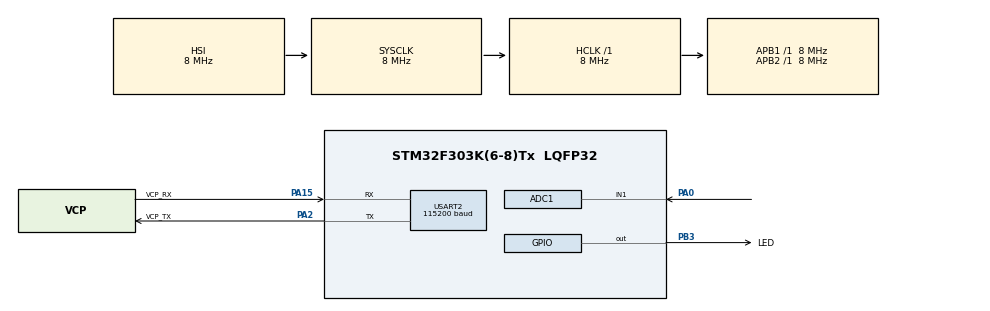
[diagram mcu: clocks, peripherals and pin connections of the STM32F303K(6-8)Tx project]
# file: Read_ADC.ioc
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ADC1.Channel-0\#ChannelRegularConversion=ADC_CHANNEL_1
ADC1.NbrOfConversionFlag=1
ADC1.Offset-0\#ChannelRegularConversion=0
ADC1.OffsetNumber-0\#ChannelRegularConversion=ADC_OFFSET_NONE
ADC1.Rank-0\#ChannelRegularConversion=1
ADC1.SamplingTime-0\#ChannelRegularConversion=ADC_SAMPLETIME_1CYCLE_5
ADC1.SamplingTimeOPAMP-0\#ChannelRegularConversion=ADC_SAMPLETIME_4CYCLES_5
ADC1.SubFamily=STM32F303x8
ADC1.master=1
Mcu.Family=STM32F3
Mcu.Name=STM32F303K(6-8)Tx
Mcu.Package=LQFP32
NVIC.PriorityGroup=NVIC_PRIORITYGROUP_4
NVIC.USART2_IRQn=true\:0\:0\:false\:false\:true\:true\:true
PA0.Mode=IN1-Single-Ended
PA0.Signal=ADC1_IN1
PA13.GPIO_Label=SWDIO
PA13.Mode=Serial_Wire
PA13.Signal=SYS_JTMS-SWDIO
PA14.GPIO_Label=SWCLK
PA14.Mode=Serial_Wire
PA14.Signal=SYS_JTCK-SWCLK
PA15.GPIO_Label=VCP_RX
PA15.Mode=Asynchronous
PA15.Signal=USART2_RX
PA2.GPIO_Label=VCP_TX
PA2.Mode=Asynchronous
PA2.Signal=USART2_TX
PB3.GPIO_Label=LED
PB3.Signal=GPIO_Output
PF0\ /\ OSC_IN.GPIO_Label=MCO
PF0\ /\ OSC_IN.Mode=HSE-External-Clock-Source
PF0\ /\ OSC_IN.Signal=RCC_OSC_IN
ProjectManager.HeapSize=0x200
ProjectManager.StackSize=0x400
ProjectManager.TargetToolchain=Makefile
RCC.AHBFreq_Value=8000000
RCC.APB1Freq_Value=8000000
RCC.APB2Freq_Value=8000000
RCC.CortexFreq_Value=8000000
RCC.HSE_VALUE=8000000
RCC.HSI_VALUE=8000000
RCC.PLLMUL=RCC_PLL_MUL4
RCC.SYSCLKFreq_VALUE=8000000
USART2.BaudRate=115200
USART2.VirtualMode-Asynchronous=VM_ASYNC
board=NUCLEO-F303K8

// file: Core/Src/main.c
/* USER CODE BEGIN Header */
/**
  ******************************************************************************
  * @file           : main.c
  * @brief          : Main program body
  ******************************************************************************
  * @attention
  *
  * <h2><center>&copy; Copyright (c) 2023 STMicroelectronics.
  * All rights reserved.</center></h2>
  *
  * This software component is licensed by ST under BSD 3-Clause license,
  * the "License"; You may not use this file except in compliance with the
  * License. You may obtain a copy of the License at:
  *                        opensource.org/licenses/BSD-3-Clause
  *
  ******************************************************************************
  */
/* USER CODE END Header */
#include "main.h"

/* USER CODE BEGIN Includes */
#include <string.h>
#include <stdbool.h>
#include <stdio.h>
/* USER CODE END Includes */

/* USER CODE BEGIN PD */
#define MAX_CMD_LEN 64
#define MAX_ADC_VALUE_LEN 6
/* USER CODE END PD */

ADC_HandleTypeDef hadc1;

UART_HandleTypeDef huart2;

/* USER CODE BEGIN PV */
bool cmd_received = false;
uint8_t cmd[MAX_CMD_LEN] = {0};
uint8_t * last_char = &cmd[MAX_CMD_LEN];
uint8_t * p_current_char = cmd;
/* USER CODE END PV */

void SystemClock_Config(void);
static void MX_GPIO_Init(void);
static void MX_USART2_UART_Init(void);
static void MX_ADC1_Init(void);

/* USER CODE BEGIN 0 */
void HAL_UART_RxCpltCallback(UART_HandleTypeDef *huart)
{
  // As long as the character received isn't a newline/carriage return AND we haven't
  // reached the end of our cmd buffer, then restart the interrupt to receive
  // another character.
  //
  if( *p_current_char != '\n' && *p_current_char != '\r' && p_current_char != last_char )
  {
    HAL_UART_Receive_IT(huart, ++p_current_char, (size_t)1);
  }

  // Otherwise zero out the newline or carriage return that was most recently
  // received. Then set <cmd_received> to <true> so that the main loop can process it.
  //
  else
  {
    *p_current_char = '\0';
    cmd_received = true;
  }
}
/* USER CODE END 0 */

int main(void)
{

  /* MCU Configuration--------------------------------------------------------*/

  /* Reset of all peripherals, Initializes the Flash interface and the Systick. */
  HAL_Init();

  /* Configure the system clock */
  SystemClock_Config();

  /* Initialize all configured peripherals */
  MX_GPIO_Init();
  MX_USART2_UART_Init();
  MX_ADC1_Init();
  /* USER CODE BEGIN 2 */

  // Start interrupt-based reception of first character over UART
  //
  HAL_UART_Receive_IT(&huart2, cmd, (size_t)1);

  /* USER CODE END 2 */

  /* Infinite loop */
  while (1)
  {

    /* USER CODE BEGIN 3 */
    if( cmd_received )
    {
      // Process the command by comparing it to "on" and "off".
      //
      if( strcmp((char*)cmd, "r") == 0 )
      {
        HAL_ADC_Start(&hadc1);

        // NOTE: This code is BLOCKING, which isn't desirable, but
        // it probably executes quickly enough that there are no
        // adverse affects on our system.
        //
        HAL_ADC_PollForConversion(&hadc1, HAL_MAX_DELAY);

        uint8_t buffer[MAX_ADC_VALUE_LEN] = {0};
        sprintf((char*)buffer, "%4ld", HAL_ADC_GetValue(&hadc1));
        buffer[MAX_ADC_VALUE_LEN-2] = '\n';
        buffer[MAX_ADC_VALUE_LEN-1] = '\r';
        HAL_UART_Transmit(&huart2, buffer, MAX_ADC_VALUE_LEN, HAL_MAX_DELAY);
      }
      else
      {
        uint8_t error_msg[] = "Unknown command\n\r";
        HAL_UART_Transmit(&huart2, error_msg, strlen((char*)error_msg), HAL_MAX_DELAY);
      }

      // Reset variables to receive another command.
      //
      memset(cmd, 0, strlen((char*)cmd));
      p_current_char = cmd;
      cmd_received = false;
      HAL_UART_Receive_IT(&huart2, cmd, (size_t)1);
    }
  }
  /* USER CODE END 3 */
}

void SystemClock_Config(void)
{
  RCC_OscInitTypeDef RCC_OscInitStruct = {0};
  RCC_ClkInitTypeDef RCC_ClkInitStruct = {0};
  RCC_PeriphCLKInitTypeDef PeriphClkInit = {0};

  /** Initializes the RCC Oscillators according to the specified parameters
  * in the RCC_OscInitTypeDef structure.
  */
  RCC_OscInitStruct.OscillatorType = RCC_OSCILLATORTYPE_HSI;
  RCC_OscInitStruct.HSIState = RCC_HSI_ON;
  RCC_OscInitStruct.HSICalibrationValue = RCC_HSICALIBRATION_DEFAULT;
  RCC_OscInitStruct.PLL.PLLState = RCC_PLL_ON;
  RCC_OscInitStruct.PLL.PLLSource = RCC_PLLSOURCE_HSI;
  RCC_OscInitStruct.PLL.PLLMUL = RCC_PLL_MUL4;
  if (HAL_RCC_OscConfig(&RCC_OscInitStruct) != HAL_OK)
  {
    Error_Handler();
  }
  /** Initializes the CPU, AHB and APB buses clocks
  */
  RCC_ClkInitStruct.ClockType = RCC_CLOCKTYPE_HCLK|RCC_CLOCKTYPE_SYSCLK
                              |RCC_CLOCKTYPE_PCLK1|RCC_CLOCKTYPE_PCLK2;
  RCC_ClkInitStruct.SYSCLKSource = RCC_SYSCLKSOURCE_HSI;
  RCC_ClkInitStruct.AHBCLKDivider = RCC_SYSCLK_DIV1;
  RCC_ClkInitStruct.APB1CLKDivider = RCC_HCLK_DIV1;
  RCC_ClkInitStruct.APB2CLKDivider = RCC_HCLK_DIV1;

  if (HAL_RCC_ClockConfig(&RCC_ClkInitStruct, FLASH_LATENCY_0) != HAL_OK)
  {
    Error_Handler();
  }
  PeriphClkInit.PeriphClockSelection = RCC_PERIPHCLK_ADC12;
  PeriphClkInit.Adc12ClockSelection = RCC_ADC12PLLCLK_DIV1;
  if (HAL_RCCEx_PeriphCLKConfig(&PeriphClkInit) != HAL_OK)
  {
    Error_Handler();
  }
}

static void MX_ADC1_Init(void)
{

  ADC_MultiModeTypeDef multimode = {0};
  ADC_ChannelConfTypeDef sConfig = {0};

  /** Common config
  */
  hadc1.Instance = ADC1;
  hadc1.Init.ClockPrescaler = ADC_CLOCK_ASYNC_DIV1;
  hadc1.Init.Resolution = ADC_RESOLUTION_12B;
  hadc1.Init.ScanConvMode = ADC_SCAN_DISABLE;
  hadc1.Init.ContinuousConvMode = DISABLE;
  hadc1.Init.DiscontinuousConvMode = DISABLE;
  hadc1.Init.ExternalTrigConvEdge = ADC_EXTERNALTRIGCONVEDGE_NONE;
  hadc1.Init.ExternalTrigConv = ADC_SOFTWARE_START;
  hadc1.Init.DataAlign = ADC_DATAALIGN_RIGHT;
  hadc1.Init.NbrOfConversion = 1;
  hadc1.Init.DMAContinuousRequests = DISABLE;
  hadc1.Init.EOCSelection = ADC_EOC_SINGLE_CONV;
  hadc1.Init.LowPowerAutoWait = DISABLE;
  hadc1.Init.Overrun = ADC_OVR_DATA_OVERWRITTEN;
  if (HAL_ADC_Init(&hadc1) != HAL_OK)
  {
    Error_Handler();
  }
  /** Configure the ADC multi-mode
  */
  multimode.Mode = ADC_MODE_INDEPENDENT;
  if (HAL_ADCEx_MultiModeConfigChannel(&hadc1, &multimode) != HAL_OK)
  {
    Error_Handler();
  }
  /** Configure Regular Channel
  */
  sConfig.Channel = ADC_CHANNEL_1;
  sConfig.Rank = ADC_REGULAR_RANK_1;
  sConfig.SingleDiff = ADC_SINGLE_ENDED;
  sConfig.SamplingTime = ADC_SAMPLETIME_1CYCLE_5;
  sConfig.OffsetNumber = ADC_OFFSET_NONE;
  sConfig.Offset = 0;
  if (HAL_ADC_ConfigChannel(&hadc1, &sConfig) != HAL_OK)
  {
    Error_Handler();
  }

}

static void MX_USART2_UART_Init(void)
{

  huart2.Instance = USART2;
  huart2.Init.BaudRate = 115200;
  huart2.Init.WordLength = UART_WORDLENGTH_8B;
  huart2.Init.StopBits = UART_STOPBITS_1;
  huart2.Init.Parity = UART_PARITY_NONE;
  huart2.Init.Mode = UART_MODE_TX_RX;
  huart2.Init.HwFlowCtl = UART_HWCONTROL_NONE;
  huart2.Init.OverSampling = UART_OVERSAMPLING_16;
  huart2.Init.OneBitSampling = UART_ONE_BIT_SAMPLE_DISABLE;
  huart2.AdvancedInit.AdvFeatureInit = UART_ADVFEATURE_NO_INIT;
  if (HAL_UART_Init(&huart2) != HAL_OK)
  {
    Error_Handler();
  }

}

static void MX_GPIO_Init(void)
{
  GPIO_InitTypeDef GPIO_InitStruct = {0};

  /* GPIO Ports Clock Enable */
  __HAL_RCC_GPIOF_CLK_ENABLE();
  __HAL_RCC_GPIOA_CLK_ENABLE();
  __HAL_RCC_GPIOB_CLK_ENABLE();

  /*Configure GPIO pin Output Level */
  HAL_GPIO_WritePin(LED_GPIO_Port, LED_Pin, GPIO_PIN_RESET);

  /*Configure GPIO pin : LED_Pin */
  GPIO_InitStruct.Pin = LED_Pin;
  GPIO_InitStruct.Mode = GPIO_MODE_OUTPUT_PP;
  GPIO_InitStruct.Pull = GPIO_NOPULL;
  GPIO_InitStruct.Speed = GPIO_SPEED_FREQ_LOW;
  HAL_GPIO_Init(LED_GPIO_Port, &GPIO_InitStruct);

}

void Error_Handler(void)
{
  __disable_irq();
  while (1)
  {
  }
}

/************************ (C) COPYRIGHT STMicroelectronics *****END OF FILE****/
